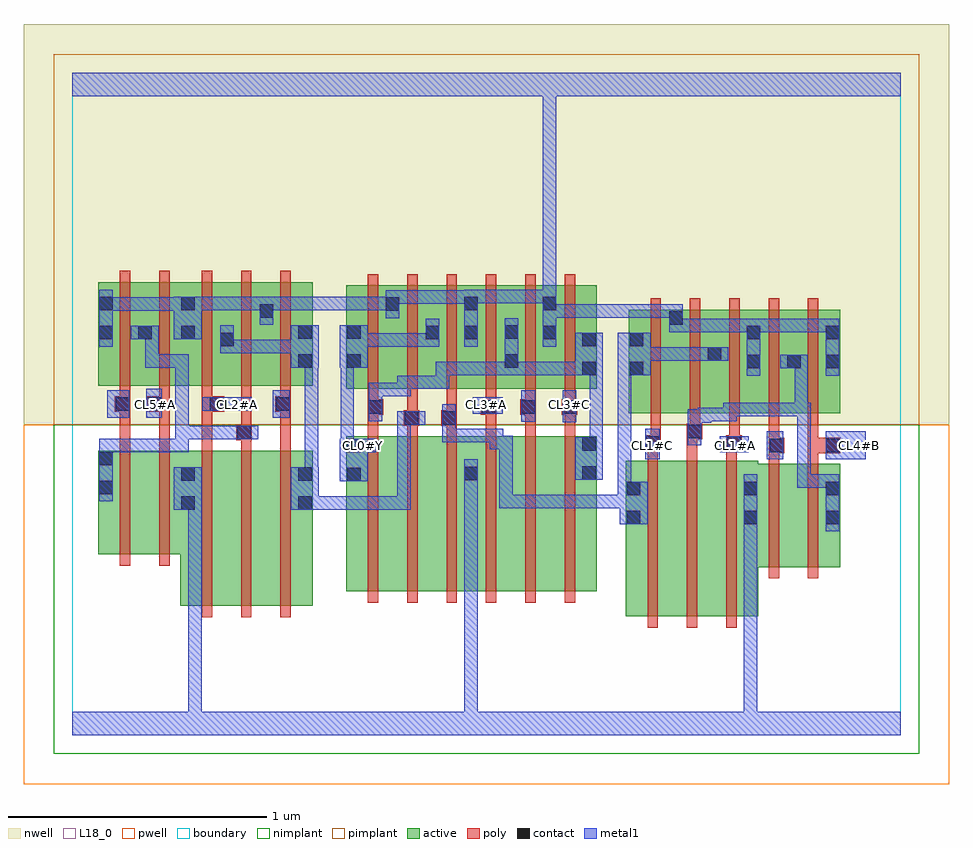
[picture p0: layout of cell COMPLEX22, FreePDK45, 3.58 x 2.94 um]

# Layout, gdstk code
import gdstk
lib = gdstk.Library(unit=1e-6, precision=1e-09)
def R(c, l, rs):  # rectangles x0, y0, x1, y1
    for r in rs: c.add(gdstk.rectangle(r[:2], r[2:], *l))
def A(c, l, x, y, w, h, nx, ny, dx, dy):  # array of equal rectangles
    R(c, l, [(x+i*dx, y+j*dy, x+i*dx+w, y+j*dy+h) for i in range(nx) for j in range(ny)])
active = (1, 0)
pwell = (2, 0)
nwell = (3, 0)
nimplant = (4, 0)
pimplant = (5, 0)
poly = (9, 0)
contact = (10, 0)
metal1 = (11, 0)
L18_0 = (18, 0)
boundary = (235, 0)

complex22 = lib.new_cell('COMPLEX22')
A(complex22, active, 1.058, 1.338, 0.208, 0.4, 3, 1, 0.304, 0)
R(complex22, active, [(2.138,0.46,2.318,1.06), (2.318,0.46,2.47,1.06), (2.47,0.46,2.65,1.06), (0.416,0.5,0.596,1.1), (0.596,0.5,0.748,1.1), (0.748,0.5,0.928,1.1), (0.868,0.556,0.928,1.1), (1.058,0.556,1.238,1.156), (1.058,0.556,1.118,1.156), (1.238,0.556,1.39,1.156), (1.39,0.556,1.57,1.156), (1.51,0.556,1.694,1.156), (1.51,0.556,1.57,1.042), (1.694,0.556,1.846,1.156), (1.846,0.556,2.026,1.156), (1.966,0.556,2.026,1.156), (2.138,0.556,2.198,1.06), (2.59,0.65,2.786,1.05), (2.786,0.65,2.966,1.05), (0.1,0.7,0.28,1.1), (0.28,0.7,0.476,1.1), (0.1,0.756,0.16,1.1), (0.416,0.756,0.476,1.04), (2.59,0.756,2.65,0.984), (2.906,0.756,2.966,1.05), (2.15,1.244,2.21,1.644), (2.15,1.244,2.362,1.644), (2.302,1.244,2.51,1.644), (2.45,1.244,2.662,1.644), (2.602,1.244,2.818,1.644), (2.758,1.244,2.818,1.644), (2.758,1.244,2.966,1.644), (2.906,1.244,2.966,1.644), (1.058,1.338,1.118,1.644), (1.206,1.338,1.422,1.738), (1.51,1.338,1.57,1.738), (1.51,1.338,1.726,1.738), (1.814,1.338,1.874,1.738), (1.814,1.338,2.026,1.738), (1.966,1.338,2.026,1.644), (0.1,1.35,0.16,1.75), (0.1,1.35,0.31,1.75), (0.25,1.35,0.476,1.75), (0.416,1.35,0.628,1.75), (0.568,1.35,0.78,1.75), (0.72,1.35,0.78,1.75), (0.72,1.35,0.928,1.75), (0.868,1.35,0.928,1.644), (0.416,1.364,0.476,1.75), (2.602,1.414,2.662,1.644), (1.666,1.416,1.726,1.644), (2.45,1.444,2.51,1.644), (1.206,1.456,1.266,1.738), (0.568,1.5,0.628,1.644), (0.25,1.526,0.31,1.644), (1.362,1.526,1.422,1.644), (2.302,1.582,2.362,1.644)])
R(complex22, pwell, [(-0.188,-0.188,3.388,1.2)])
R(complex22, nwell, [(-0.188,1.2,3.388,2.748)])
R(complex22, nimplant, [(-0.072,-0.072,3.272,1.2)])
R(complex22, pimplant, [(-0.072,1.2,3.272,2.632)])
A(complex22, poly, 2.222, 0.416, 0.04, 0.688, 3, 1, 0.152, 0)
A(complex22, poly, 0.5, 0.456, 0.04, 0.688, 3, 1, 0.152, 0)
A(complex22, poly, 1.142, 0.512, 0.04, 0.688, 6, 1, 0.152, 0)
A(complex22, poly, 1.598, 1.16, 0.04, 0.118, 3, 1, 0.152, 0)
A(complex22, poly, 2.234, 1.2, 0.04, 0.488, 5, 1, 0.152, 0)
A(complex22, poly, 1.598, 1.258, 0.04, 0.076, 3, 1, 0.152, 0)
A(complex22, poly, 1.142, 1.294, 0.04, 0.488, 6, 1, 0.152, 0)
A(complex22, poly, 0.5, 1.306, 0.04, 0.488, 3, 1, 0.152, 0)
R(complex22, poly, [(2.69,0.606,2.73,1.094), (2.842,0.606,2.882,1.094), (0.184,0.656,0.224,1.144), (0.336,0.656,0.376,1.144), (2.69,1.054,2.73,1.13), (2.842,1.054,2.882,1.13), (2.222,1.064,2.262,1.14), (2.374,1.064,2.414,1.184), (2.526,1.064,2.566,1.14), (2.69,1.09,2.75,1.15), (2.842,1.09,2.966,1.15), (2.214,1.1,2.274,1.16), (2.222,1.1,2.262,1.14), (2.222,1.1,2.262,1.14), (2.526,1.1,2.586,1.16), (0.184,1.104,0.224,1.29), (0.336,1.104,0.376,1.29), (0.5,1.104,0.54,1.29), (0.652,1.104,0.692,1.18), (0.804,1.104,0.844,1.29), (2.69,1.11,2.73,1.24), (2.69,1.11,2.73,1.15), (2.69,1.11,2.73,1.15), (2.842,1.11,2.882,1.24), (2.842,1.11,2.882,1.15), (2.842,1.11,2.882,1.15), (2.234,1.12,2.274,1.24), (2.538,1.12,2.578,1.16), (2.538,1.12,2.578,1.16), (2.538,1.12,2.578,1.24), (0.634,1.14,0.694,1.2), (2.374,1.144,2.414,1.184), (2.374,1.144,2.414,1.184), (2.374,1.144,2.434,1.204), (0.652,1.16,0.692,1.2), (0.652,1.16,0.692,1.2), (0.652,1.16,0.692,1.346), (1.142,1.16,1.182,1.278), (1.294,1.16,1.334,1.236), (1.446,1.16,1.486,1.236), (2.386,1.164,2.426,1.24), (1.28,1.196,1.34,1.256), (1.426,1.196,1.486,1.256), (1.294,1.216,1.334,1.256), (1.294,1.216,1.334,1.256), (1.294,1.216,1.334,1.334), (1.446,1.216,1.486,1.256), (1.446,1.216,1.486,1.256), (1.446,1.216,1.486,1.334), (1.142,1.238,1.182,1.278), (1.142,1.238,1.182,1.278), (1.142,1.238,1.202,1.298), (1.578,1.238,1.638,1.298), (1.598,1.238,1.638,1.278), (1.598,1.238,1.638,1.278), (1.73,1.238,1.79,1.298), (1.75,1.238,1.79,1.278), (1.75,1.238,1.79,1.278), (1.89,1.238,1.95,1.298), (0.164,1.25,0.224,1.31), (0.184,1.25,0.224,1.29), (0.184,1.25,0.224,1.29), (0.29,1.25,0.376,1.31), (0.5,1.25,0.54,1.29), (0.5,1.25,0.54,1.29), (0.5,1.25,0.586,1.31), (0.784,1.25,0.844,1.31), (0.804,1.25,0.844,1.29), (0.804,1.25,0.844,1.29), (1.142,1.258,1.182,1.334), (1.902,1.258,1.942,1.298), (1.902,1.258,1.942,1.298), (0.184,1.27,0.224,1.346), (0.336,1.27,0.376,1.31), (0.336,1.27,0.376,1.31), (0.336,1.27,0.376,1.346), (0.5,1.27,0.54,1.346), (0.804,1.27,0.844,1.346), (0.184,1.306,0.224,1.794), (0.336,1.306,0.376,1.794)])
R(complex22, contact, [(2.142,0.816,2.194,0.868), (2.594,0.816,2.646,0.868), (2.91,0.816,2.962,0.868), (0.42,0.872,0.472,0.924), (0.872,0.872,0.924,0.924), (2.142,0.928,2.194,0.98), (2.594,0.928,2.646,0.98), (2.91,0.928,2.962,0.98), (0.104,0.932,0.156,0.984), (1.062,0.982,1.114,1.034), (0.42,0.984,0.472,1.036), (0.872,0.984,0.924,1.036), (1.514,0.986,1.566,1.038), (1.97,0.988,2.022,1.04), (0.104,1.044,0.156,1.096), (1.062,1.094,1.114,1.146), (2.694,1.094,2.746,1.146), (2.91,1.094,2.962,1.146), (1.97,1.1,2.022,1.152), (2.218,1.104,2.27,1.156), (2.53,1.104,2.582,1.156), (0.638,1.144,0.69,1.196), (2.378,1.148,2.43,1.2), (1.284,1.2,1.336,1.252), (1.43,1.2,1.482,1.252), (1.146,1.242,1.198,1.294), (1.582,1.242,1.634,1.294), (1.734,1.242,1.786,1.294), (1.894,1.242,1.946,1.294), (0.168,1.254,0.22,1.306), (0.294,1.254,0.346,1.306), (0.53,1.254,0.582,1.306), (0.788,1.254,0.84,1.306), (1.97,1.392,2.022,1.444), (2.154,1.392,2.206,1.444), (2.606,1.418,2.658,1.47), (2.762,1.418,2.814,1.47), (2.91,1.418,2.962,1.47), (0.872,1.42,0.924,1.472), (1.062,1.42,1.114,1.472), (1.67,1.42,1.722,1.472), (2.454,1.448,2.506,1.5), (0.572,1.504,0.624,1.556), (1.97,1.504,2.022,1.556), (2.154,1.504,2.206,1.556), (0.104,1.53,0.156,1.582), (0.254,1.53,0.306,1.582), (0.42,1.53,0.472,1.582), (1.366,1.53,1.418,1.582), (1.514,1.53,1.566,1.582), (1.818,1.53,1.87,1.582), (2.606,1.53,2.658,1.582), (2.91,1.53,2.962,1.582), (0.872,1.532,0.924,1.584), (1.062,1.532,1.114,1.584), (1.67,1.532,1.722,1.584), (2.306,1.586,2.358,1.638), (0.724,1.614,0.776,1.666), (1.21,1.64,1.262,1.692), (0.104,1.642,0.156,1.694), (0.42,1.642,0.472,1.694), (1.514,1.642,1.566,1.694), (1.818,1.642,1.87,1.694)])
R(complex22, metal1, [(0,0,3.2,0.092), (0.448,0.04,0.5,0.092), (0.448,0.04,0.5,0.092), (0.448,0.04,0.5,0.092), (0.448,0.04,0.5,0.092), (0.448,0.04,0.5,0.924), (1.514,0.04,1.566,1.01), (2.594,0.04,2.646,0.092), (2.594,0.04,2.646,0.092), (2.594,0.04,2.646,0.84), (2.594,0.788,2.646,0.84), (2.594,0.788,2.646,0.84), (2.594,0.788,2.646,0.84), (2.594,0.788,2.646,0.84), (2.594,0.788,2.646,0.84), (2.594,0.788,2.646,0.84), (2.594,0.788,2.646,1.008), (2.91,0.788,2.962,1.008), (2.114,0.816,2.222,0.98), (0.392,0.872,0.5,1.036), (0.448,0.872,0.5,0.924), (0.448,0.872,0.5,0.924), (0.448,0.872,0.5,0.924), (0.448,0.872,0.5,0.924), (0.844,0.872,0.952,1.036), (0.9,0.872,0.952,0.924), (0.9,0.872,0.952,0.924), (0.9,0.872,1.062,0.924), (1.01,0.872,1.062,0.924), (1.01,0.872,1.062,0.924), (1.01,0.872,1.062,0.924), (1.01,0.872,1.308,0.924), (1.256,0.872,1.308,0.924), (1.256,0.872,1.308,1.252), (1.65,0.878,1.702,0.93), (1.65,0.878,1.836,0.93), (1.65,0.878,1.702,1.158), (1.784,0.878,1.836,0.93), (1.784,0.878,1.884,0.93), (1.832,0.878,1.884,0.93), (1.832,0.878,1.884,0.93), (1.832,0.878,1.884,0.93), (1.832,0.878,2.014,0.93), (1.962,0.878,2.014,0.93), (1.962,0.878,2.014,0.93), (1.962,0.878,2.014,0.93), (1.962,0.878,2.166,0.93), (0.104,0.904,0.156,1.124), (2.108,0.928,2.16,1.444), (2.108,0.928,2.166,0.98), (2.114,0.928,2.166,0.98), (2.8,0.956,2.852,1.008), (2.8,0.956,2.852,1.008), (2.8,0.956,2.852,1.008), (2.8,0.956,2.962,1.008), (2.8,0.956,2.852,1.284), (2.91,0.956,2.962,1.008), (2.91,0.956,2.962,1.008), (1.514,0.958,1.566,1.01), (1.514,0.958,1.566,1.01), (1.514,0.958,1.566,1.01), (1.514,0.958,1.566,1.01), (1.514,0.958,1.566,1.01), (1.514,0.958,1.566,1.01), (1.514,0.958,1.566,1.01), (1.514,0.958,1.566,1.01), (1.514,0.958,1.566,1.066), (1.034,0.982,1.142,1.146), (0.898,0.984,0.95,1.036), (0.898,0.984,0.95,1.036), (0.898,0.984,0.95,1.036), (0.898,0.984,0.95,1.036), (0.898,0.984,0.95,1.472), (1.942,0.988,2.05,1.152), (2.214,1.066,2.27,1.184), (2.682,1.066,2.746,1.174), (2.91,1.066,3.066,1.174), (0.104,1.072,0.156,1.124), (0.104,1.072,0.156,1.146), (0.104,1.094,0.334,1.146), (0.282,1.094,0.334,1.146), (0.282,1.094,0.334,1.146), (0.282,1.094,0.334,1.146), (0.282,1.094,0.45,1.146), (0.398,1.094,0.45,1.146), (0.398,1.094,0.45,1.196), (1.036,1.094,1.088,1.146), (1.036,1.094,1.088,1.472), (1.036,1.094,1.174,1.146), (2.502,1.094,2.614,1.156), (1.998,1.1,2.05,1.152), (1.998,1.1,2.05,1.152), (1.998,1.1,2.05,1.444), (1.612,1.106,1.702,1.158), (1.612,1.106,1.664,1.184), (1.65,1.106,1.702,1.158), (2.378,1.12,2.43,1.26), (1.43,1.132,1.592,1.184), (1.43,1.132,1.482,1.28), (1.54,1.132,1.592,1.184), (1.54,1.132,1.664,1.184), (0.398,1.144,0.45,1.196), (0.398,1.144,0.45,1.472), (0.398,1.144,0.456,1.196), (0.404,1.144,0.456,1.196), (0.404,1.144,0.662,1.196), (0.61,1.144,0.662,1.196), (0.61,1.144,0.662,1.196), (0.61,1.144,0.718,1.196), (1.256,1.2,1.308,1.252), (1.256,1.2,1.308,1.252), (1.256,1.2,1.308,1.252), (1.256,1.2,1.308,1.252), (1.256,1.2,1.364,1.252), (2.378,1.208,2.468,1.26), (2.416,1.208,2.468,1.266), (1.894,1.21,1.946,1.334), (1.734,1.212,1.788,1.334), (1.146,1.214,1.198,1.362), (2.416,1.214,2.566,1.266), (2.514,1.214,2.566,1.284), (0.134,1.226,0.22,1.334), (0.286,1.226,0.346,1.338), (0.774,1.226,0.84,1.334), (2.514,1.232,2.676,1.284), (2.624,1.232,2.676,1.284), (2.624,1.232,2.676,1.284), (2.624,1.232,2.676,1.284), (2.624,1.232,2.842,1.284), (2.79,1.232,2.842,1.47), (2.79,1.232,2.852,1.284), (1.546,1.242,1.662,1.306), (0.502,1.254,0.694,1.306), (1.146,1.31,1.308,1.362), (1.256,1.31,1.308,1.362), (1.256,1.31,1.308,1.362), (1.256,1.31,1.308,1.39), (1.256,1.338,1.456,1.39), (1.404,1.338,1.456,1.39), (1.404,1.338,1.456,1.444), (2.606,1.39,2.658,1.61), (2.91,1.39,2.962,1.61), (1.404,1.392,1.456,1.444), (1.404,1.392,1.456,1.444), (1.404,1.392,1.456,1.444), (1.404,1.392,1.592,1.444), (1.54,1.392,1.592,1.444), (1.54,1.392,1.592,1.444), (1.54,1.392,1.592,1.444), (1.54,1.392,1.722,1.444), (1.67,1.392,1.722,1.612), (1.67,1.392,1.836,1.444), (1.784,1.392,1.836,1.444), (1.784,1.392,1.836,1.444), (1.784,1.392,1.836,1.444), (1.784,1.392,1.994,1.444), (1.942,1.392,1.994,1.444), (1.942,1.392,1.994,1.444), (1.942,1.392,2.05,1.556), (1.998,1.392,2.05,1.444), (1.998,1.392,2.05,1.444), (2.108,1.392,2.16,1.444), (2.108,1.392,2.16,1.444), (2.108,1.392,2.16,1.444), (2.108,1.392,2.16,1.444), (2.108,1.392,2.234,1.556), (2.734,1.418,2.842,1.47), (0.282,1.42,0.334,1.472), (0.282,1.42,0.334,1.472), (0.282,1.42,0.334,1.472), (0.282,1.42,0.45,1.472), (0.282,1.42,0.334,1.582), (0.398,1.42,0.45,1.472), (0.844,1.42,0.952,1.584), (1.034,1.42,1.142,1.584), (1.036,1.42,1.088,1.472), (1.036,1.42,1.088,1.472), (2.182,1.448,2.234,1.5), (2.182,1.448,2.234,1.5), (2.182,1.448,2.344,1.5), (2.292,1.448,2.344,1.5), (2.292,1.448,2.344,1.5), (2.292,1.448,2.344,1.5), (2.292,1.448,2.478,1.5), (2.426,1.448,2.534,1.5), (0.572,1.476,0.624,1.528), (0.572,1.476,0.624,1.528), (0.572,1.476,0.624,1.584), (0.572,1.476,0.786,1.528), (0.734,1.476,0.786,1.528), (0.734,1.476,0.786,1.528), (0.734,1.476,0.786,1.528), (0.734,1.476,0.896,1.528), (0.104,1.502,0.156,1.722), (1.09,1.502,1.142,1.554), (1.09,1.502,1.142,1.554), (1.09,1.502,1.308,1.554), (1.256,1.502,1.308,1.554), (1.256,1.502,1.308,1.554), (1.256,1.502,1.308,1.554), (1.256,1.502,1.308,1.554), (1.256,1.502,1.308,1.554), (1.256,1.502,1.418,1.554), (1.366,1.502,1.418,1.61), (1.514,1.502,1.566,1.722), (1.818,1.502,1.87,1.722), (0.226,1.53,0.334,1.582), (0.392,1.53,0.5,1.694), (2.306,1.558,2.358,1.61), (2.306,1.558,2.358,1.61), (2.306,1.558,2.468,1.61), (2.306,1.558,2.358,1.666), (2.416,1.558,2.468,1.61), (2.416,1.558,2.54,1.61), (2.488,1.558,2.54,1.61), (2.488,1.558,2.658,1.61), (2.606,1.558,2.742,1.61), (2.69,1.558,2.742,1.61), (2.69,1.558,2.786,1.61), (2.734,1.558,2.786,1.61), (2.734,1.558,2.962,1.61), (2.91,1.558,2.962,1.61), (2.91,1.558,2.962,1.61), (0.724,1.586,0.776,1.694), (1.21,1.612,1.262,1.72), (1.818,1.614,1.946,1.666), (1.894,1.614,1.946,1.666), (1.894,1.614,2.124,1.666), (2.072,1.614,2.124,1.666), (2.072,1.614,2.124,1.666), (2.072,1.614,2.124,1.666), (2.072,1.614,2.234,1.666), (2.182,1.614,2.234,1.666), (2.182,1.614,2.358,1.666), (0.104,1.64,0.156,1.692), (0.104,1.64,0.156,1.692), (0.104,1.64,0.334,1.692), (0.282,1.64,0.334,1.692), (0.282,1.64,0.334,1.692), (0.282,1.64,0.334,1.692), (0.282,1.64,0.444,1.692), (0.448,1.642,0.5,1.694), (0.448,1.642,0.5,1.694), (0.448,1.642,0.666,1.694), (0.614,1.642,0.666,1.694), (0.614,1.642,0.666,1.694), (0.614,1.642,0.666,1.694), (0.614,1.642,0.776,1.694), (0.724,1.642,0.776,1.694), (0.724,1.642,0.776,1.694), (0.724,1.642,0.896,1.694), (0.844,1.642,0.896,1.694), (0.844,1.642,1.062,1.694), (1.01,1.642,1.062,1.694), (1.01,1.642,1.062,1.694), (1.01,1.642,1.062,1.694), (1.01,1.642,1.262,1.694), (1.21,1.668,1.308,1.72), (1.256,1.668,1.308,1.72), (1.256,1.668,1.456,1.72), (1.404,1.668,1.456,1.72), (1.404,1.668,1.456,1.72), (1.404,1.668,1.456,1.72), (1.404,1.668,1.566,1.72), (1.514,1.67,1.664,1.722), (1.612,1.67,1.664,1.722), (1.612,1.67,1.726,1.722), (1.674,1.67,1.726,1.722), (1.674,1.67,1.774,1.722), (1.722,1.67,1.774,1.722), (1.722,1.67,1.87,1.722), (1.818,1.67,1.87,2.52), (0,2.468,3.2,2.56), (1.818,2.468,1.87,2.52), (1.818,2.468,1.87,2.52), (1.818,2.468,1.87,2.52), (1.818,2.468,1.87,2.52), (1.818,2.468,1.87,2.52), (1.818,2.468,1.87,2.52), (1.818,2.468,1.87,2.52), (1.818,2.468,1.87,2.52), (1.818,2.468,1.87,2.52), (1.818,2.468,1.87,2.52), (1.818,2.468,1.87,2.52), (1.818,2.468,1.87,2.52), (1.818,2.468,1.87,2.52), (1.818,2.468,1.87,2.52), (1.818,2.468,1.87,2.52), (1.818,2.468,1.87,2.52)])
A(complex22, L18_0, 1.574, 1.254, 0.052, 0.052, 3, 1, 0.16, 0)
R(complex22, L18_0, [(0,0,3.2,0.092), (0.448,0.04,0.5,0.092), (0.448,0.04,0.5,0.092), (0.448,0.04,0.5,0.092), (0.448,0.04,0.5,0.092), (0.448,0.04,0.5,0.924), (1.514,0.04,1.566,1.01), (2.594,0.04,2.646,0.092), (2.594,0.04,2.646,0.092), (2.594,0.04,2.646,0.84), (2.594,0.788,2.646,1.008), (2.594,0.788,2.646,0.84), (2.594,0.788,2.646,0.84), (2.594,0.788,2.646,0.84), (2.594,0.788,2.646,0.84), (2.594,0.788,2.646,0.84), (2.594,0.788,2.646,0.84), (0.392,0.872,0.5,1.036), (0.448,0.872,0.5,0.924), (0.448,0.872,0.5,0.924), (0.448,0.872,0.5,0.924), (0.448,0.872,0.5,0.924), (1.514,0.958,1.566,1.01), (1.514,0.958,1.566,1.01), (1.514,0.958,1.566,1.01), (1.514,0.958,1.566,1.01), (1.514,0.958,1.566,1.01), (1.514,0.958,1.566,1.01), (1.514,0.958,1.566,1.01), (1.514,0.958,1.566,1.01), (1.514,0.958,1.566,1.066), (1.034,0.982,1.142,1.146), (2.214,1.066,2.27,1.184), (2.682,1.066,2.746,1.174), (2.91,1.066,3.066,1.174), (1.036,1.094,1.088,1.146), (1.036,1.094,1.174,1.146), (1.036,1.094,1.088,1.472), (1.094,1.094,1.146,1.146), (2.214,1.094,2.266,1.146), (2.502,1.094,2.614,1.156), (2.534,1.094,2.586,1.146), (2.694,1.094,2.746,1.146), (3.014,1.094,3.066,1.146), (1.894,1.21,1.946,1.334), (1.734,1.212,1.788,1.334), (0.134,1.226,0.22,1.334), (0.286,1.226,0.346,1.338), (0.774,1.226,0.84,1.334), (1.546,1.242,1.662,1.306), (0.134,1.254,0.186,1.306), (0.294,1.254,0.346,1.306), (0.502,1.254,0.694,1.306), (0.614,1.254,0.666,1.306), (0.774,1.254,0.826,1.306), (2.606,1.39,2.658,1.61), (2.91,1.39,2.962,1.61), (1.034,1.42,1.142,1.584), (1.036,1.42,1.088,1.472), (1.036,1.42,1.088,1.472), (0.104,1.502,0.156,1.722), (1.09,1.502,1.142,1.554), (1.09,1.502,1.142,1.554), (1.09,1.502,1.308,1.554), (1.256,1.502,1.308,1.554), (1.256,1.502,1.308,1.554), (1.256,1.502,1.308,1.554), (1.256,1.502,1.308,1.554), (1.256,1.502,1.308,1.554), (1.256,1.502,1.418,1.554), (1.366,1.502,1.418,1.61), (1.514,1.502,1.566,1.722), (1.818,1.502,1.87,1.722), (0.392,1.53,0.5,1.694), (2.306,1.558,2.358,1.61), (2.306,1.558,2.358,1.61), (2.306,1.558,2.468,1.61), (2.306,1.558,2.358,1.666), (2.416,1.558,2.468,1.61), (2.416,1.558,2.54,1.61), (2.488,1.558,2.54,1.61), (2.488,1.558,2.658,1.61), (2.606,1.558,2.742,1.61), (2.69,1.558,2.742,1.61), (2.69,1.558,2.786,1.61), (2.734,1.558,2.786,1.61), (2.734,1.558,2.962,1.61), (2.91,1.558,2.962,1.61), (2.91,1.558,2.962,1.61), (0.724,1.586,0.776,1.694), (1.21,1.612,1.262,1.72), (1.818,1.614,1.946,1.666), (1.894,1.614,1.946,1.666), (1.894,1.614,2.124,1.666), (2.072,1.614,2.124,1.666), (2.072,1.614,2.124,1.666), (2.072,1.614,2.124,1.666), (2.072,1.614,2.234,1.666), (2.182,1.614,2.234,1.666), (2.182,1.614,2.358,1.666), (0.104,1.64,0.156,1.692), (0.104,1.64,0.156,1.692), (0.104,1.64,0.334,1.692), (0.282,1.64,0.334,1.692), (0.282,1.64,0.334,1.692), (0.282,1.64,0.334,1.692), (0.282,1.64,0.444,1.692), (0.448,1.642,0.5,1.694), (0.448,1.642,0.5,1.694), (0.448,1.642,0.666,1.694), (0.614,1.642,0.666,1.694), (0.614,1.642,0.666,1.694), (0.614,1.642,0.666,1.694), (0.614,1.642,0.776,1.694), (0.724,1.642,0.776,1.694), (0.724,1.642,0.776,1.694), (0.724,1.642,0.896,1.694), (0.844,1.642,0.896,1.694), (0.844,1.642,1.062,1.694), (1.01,1.642,1.062,1.694), (1.01,1.642,1.062,1.694), (1.01,1.642,1.062,1.694), (1.01,1.642,1.262,1.694), (1.21,1.668,1.308,1.72), (1.256,1.668,1.308,1.72), (1.256,1.668,1.456,1.72), (1.404,1.668,1.456,1.72), (1.404,1.668,1.456,1.72), (1.404,1.668,1.456,1.72), (1.404,1.668,1.566,1.72), (1.514,1.67,1.664,1.722), (1.612,1.67,1.664,1.722), (1.612,1.67,1.726,1.722), (1.674,1.67,1.726,1.722), (1.674,1.67,1.774,1.722), (1.722,1.67,1.774,1.722), (1.722,1.67,1.87,1.722), (1.818,1.67,1.87,2.52), (0,2.468,3.2,2.56), (1.818,2.468,1.87,2.52), (1.818,2.468,1.87,2.52), (1.818,2.468,1.87,2.52), (1.818,2.468,1.87,2.52), (1.818,2.468,1.87,2.52), (1.818,2.468,1.87,2.52), (1.818,2.468,1.87,2.52), (1.818,2.468,1.87,2.52), (1.818,2.468,1.87,2.52), (1.818,2.468,1.87,2.52), (1.818,2.468,1.87,2.52), (1.818,2.468,1.87,2.52), (1.818,2.468,1.87,2.52), (1.818,2.468,1.87,2.52), (1.818,2.468,1.87,2.52), (1.818,2.468,1.87,2.52)])
R(complex22, boundary, [(0,0,3.2,2.56)])
complex22.add(gdstk.Label('CL0#Y', (1.12,1.12), layer=11, texttype=0))
complex22.add(gdstk.Label('CL1#A', (2.56,1.12), layer=11, texttype=0))
complex22.add(gdstk.Label('CL1#C', (2.24,1.12), layer=11, texttype=0))
complex22.add(gdstk.Label('CL2#A', (0.64,1.28), layer=11, texttype=0))
complex22.add(gdstk.Label('CL2#C', (0.8,1.28), layer=11, texttype=0))
complex22.add(gdstk.Label('CL3#A', (1.6,1.28), layer=11, texttype=0))
complex22.add(gdstk.Label('CL3#B', (1.76,1.28), layer=11, texttype=0))
complex22.add(gdstk.Label('CL3#C', (1.92,1.28), layer=11, texttype=0))
complex22.add(gdstk.Label('CL4#A', (2.72,1.12), layer=11, texttype=0))
complex22.add(gdstk.Label('CL4#B', (3.04,1.12), layer=11, texttype=0))
complex22.add(gdstk.Label('CL5#A', (0.32,1.28), layer=11, texttype=0))
complex22.add(gdstk.Label('CL5#B', (0.16,1.28), layer=11, texttype=0))

lib.write_gds('COMPLEX22.gds')
